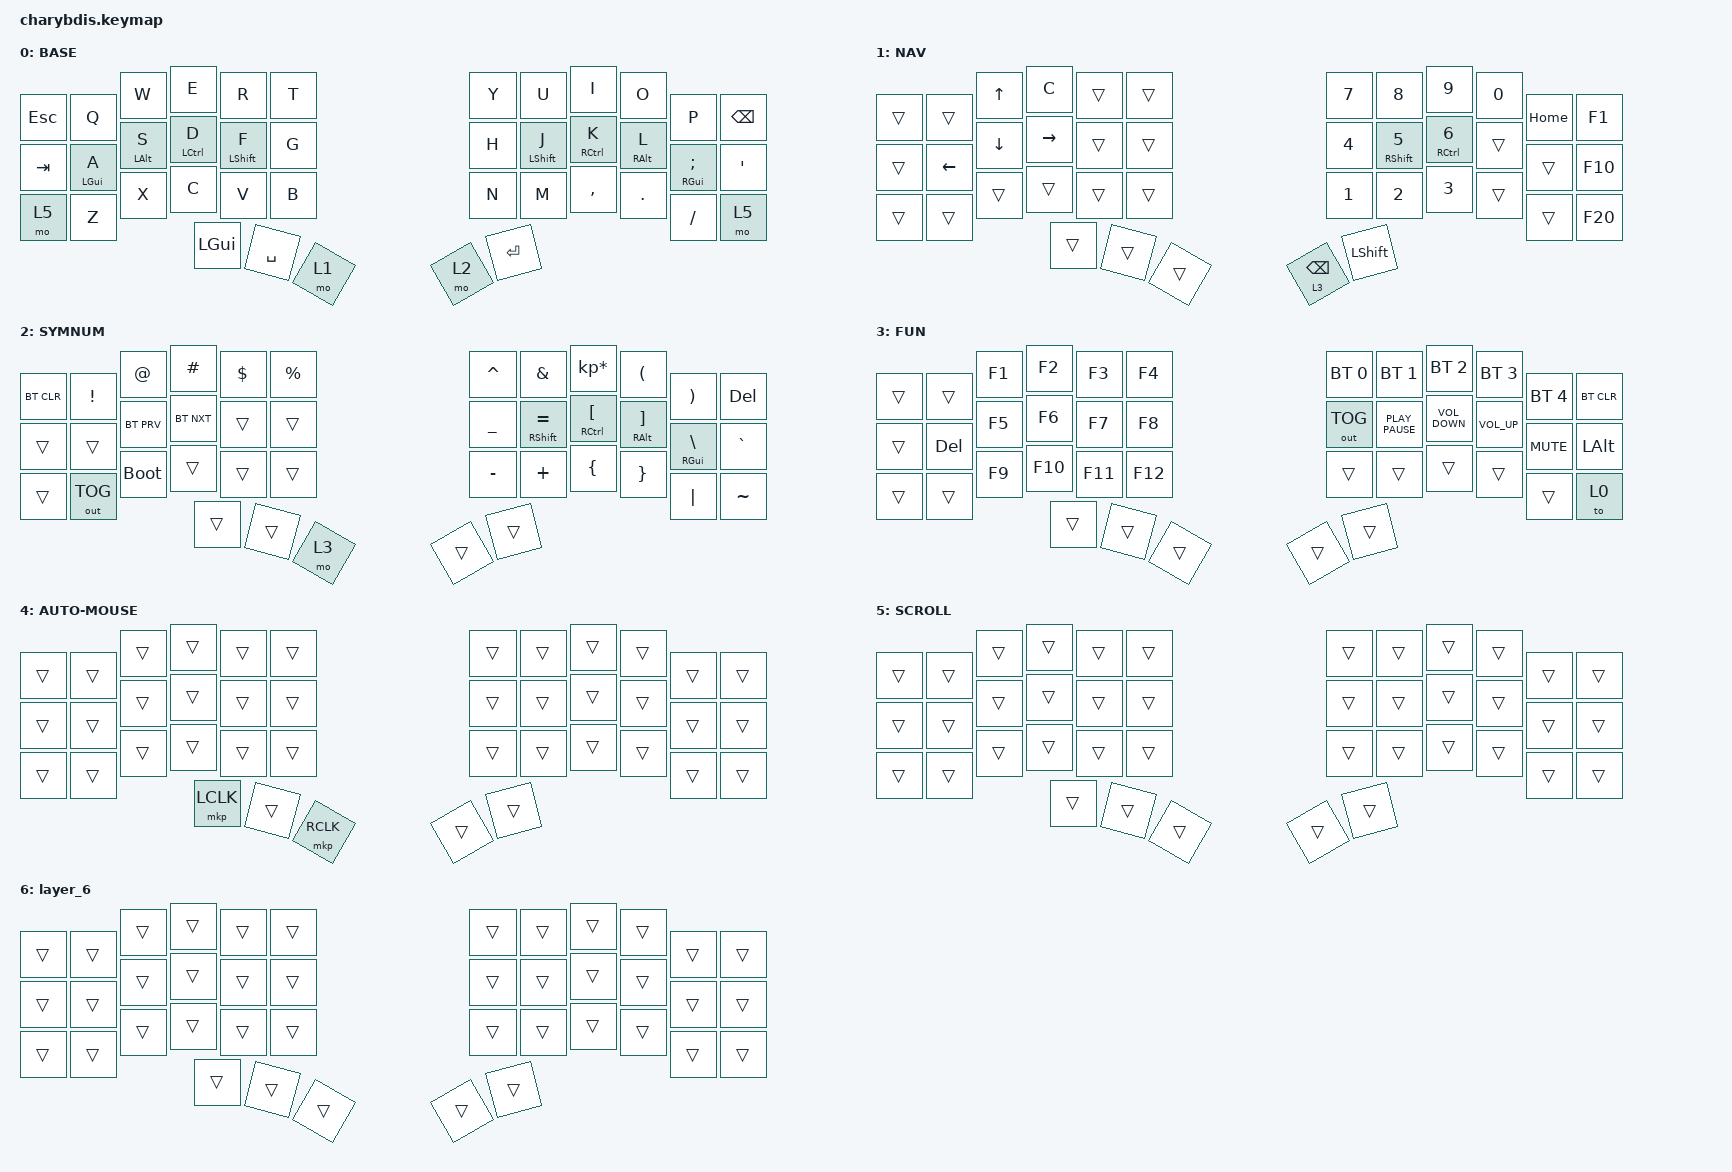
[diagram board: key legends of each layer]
#include <behaviors/mouse_keys.dtsi>
#include <behaviors.dtsi>
#include <dt-bindings/zmk/bt.h>
#include <dt-bindings/zmk/keys.h>
#include <dt-bindings/zmk/mouse.h>
#include <dt-bindings/zmk/outputs.h>

#define U_TAPPING_TERM 200

/ {
    chosen { zmk,matrix_transform = &default_transform; };
};

/ {
    combos {
        compatible = "zmk,combos";

        LeftClickRight {
            bindings = <&mkp LCLK>;
            key-positions = <19 20>;
        };

        RightClickRight {
            bindings = <&mkp RCLK>;
            key-positions = <20 21>;
        };

        MiddleClickRight {
            bindings = <&mkp MCLK>;
            key-positions = <21 22>;
        };

        ParaLeft {
            bindings = <&kp LEFT_PARENTHESIS>;
            key-positions = <4 16>;
        };

        ParaRight {
            bindings = <&kp RIGHT_PARENTHESIS>;
            key-positions = <7 19>;
        };

        BrakLeft {
            bindings = <&kp LEFT_BRACKET>;
            key-positions = <3 15>;
        };

        BrakRight {
            bindings = <&kp RIGHT_BRACKET>;
            key-positions = <8 20>;
        };

        BraceLeft {
            bindings = <&kp LEFT_BRACE>;
            key-positions = <2 14>;
        };

        BraceRight {
            bindings = <&kp RIGHT_BRACE>;
            key-positions = <9 21>;
        };

        Delete {
            bindings = <&kp DELETE>;
            key-positions = <8 9>;
        };

        CapsWord {
            bindings = <&caps_word>;
            key-positions = <17 18>;
        };
    };

    behaviors {
        u_mt: u_mt {
            compatible = "zmk,behavior-hold-tap";
            label = "u_mt";
            #binding-cells = <2>;
            tapping_term_ms = <U_TAPPING_TERM>;
            flavor = "tap-preferred";
            bindings = <&kp>, <&kp>;
        };

        u_lt: u_lt {
            compatible = "zmk,behavior-hold-tap";
            label = "u_lt";
            #binding-cells = <2>;
            tapping_term_ms = <U_TAPPING_TERM>;
            flavor = "tap-preferred";
            bindings = <&mo>, <&kp>;
        };

        Shift_Enter: Shift_Enter {
            compatible = "zmk,behavior-hold-tap";
            label = "SHIFT_ENTER";
            bindings = <&kp>, <&kp>;

            #binding-cells = <2>;
            hold-trigger-key-positions = <40>;
            tapping-term-ms = <100>;
        };
    };

    keymap {
        compatible = "zmk,keymap";

        BASE {
            bindings = <
            &kp ESC  &kp Q             &kp W             &kp E          &kp R               &kp T    &kp Y  &kp U               &kp I          &kp O              &kp P                 &kp BSPC
            &kp TAB  &u_mt LEFT_GUI A  &u_mt LEFT_ALT S  &u_mt LCTRL D  &u_mt LEFT_SHIFT F  &kp G    &kp H  &u_mt LEFT_SHIFT J  &u_mt RCTRL K  &u_mt RIGHT_ALT L  &u_mt RIGHT_GUI SEMI  &kp APOS
            &mo 5    &kp Z             &kp X             &kp C          &kp V               &kp B    &kp N  &kp M               &kp COMMA      &kp DOT            &kp FSLH              &mo 5
                                                        &kp LGUI       &kp SPACE           &mo 1    &mo 2  &kp RET
            >;
        };

        NAV {
            bindings = <
            &trans  &trans    &kp UP    &kp C      &trans  &trans    &kp N7           &kp N8                &kp N9          &kp N0  &kp HOME  &kp F1
            &trans  &kp LEFT  &kp DOWN  &kp RIGHT  &trans  &trans    &kp N4           &u_mt RIGHT_SHIFT N5  &u_mt RCTRL N6  &trans  &trans    &kp F10
            &trans  &trans    &trans    &trans     &trans  &trans    &kp N1           &kp N2                &kp N3          &trans  &trans    &kp F20
                                        &trans     &trans  &trans    &lt 3 BACKSPACE  &kp LSHFT
            >;
        };

        SYMNUM {
            bindings = <
            &bt BT_CLR  &kp EXCL      &kp AT       &kp HASH    &kp DLLR  &kp PRCNT    &kp CARET  &kp AMPS                 &kp KP_MULTIPLY   &kp LPAR              &kp RPAR              &kp DEL
            &trans      &trans        &bt BT_PRV   &bt BT_NXT  &trans    &trans       &kp UNDER  &u_mt RIGHT_SHIFT EQUAL  &u_mt RCTRL LBKT  &u_mt RIGHT_ALT RBKT  &u_mt RIGHT_GUI BSLH  &kp GRAVE
            &trans      &out OUT_TOG  &bootloader  &trans      &trans    &trans       &kp MINUS  &kp PLUS                 &kp LBRC          &kp RBRC              &kp PIPE              &kp TILDE
                                                &trans      &trans    &mo 3        &trans     &trans
            >;
        };

        FUN {
            bindings = <
            &trans  &trans   &kp F1  &kp F2   &kp F3   &kp F4     &bt BT_SEL 0  &bt BT_SEL 1      &bt BT_SEL 2       &bt BT_SEL 3     &bt BT_SEL 4  &bt BT_CLR
            &trans  &kp DEL  &kp F5  &kp F6   &kp F7   &kp F8     &out OUT_TOG  &kp K_PLAY_PAUSE  &kp C_VOLUME_DOWN  &kp C_VOLUME_UP  &kp C_MUTE    &kp LALT
            &trans  &trans   &kp F9  &kp F10  &kp F11  &kp F12    &trans        &trans            &trans             &trans           &trans        &to 0
                                    &trans   &trans   &trans     &trans        &trans
            >;
        };

        AUTO-MOUSE {
            bindings = <
            &trans  &trans  &trans  &trans     &trans  &trans       &trans  &trans  &trans  &trans  &trans  &trans
            &trans  &trans  &trans  &trans     &trans  &trans       &trans  &trans  &trans  &trans  &trans  &trans
            &trans  &trans  &trans  &trans     &trans  &trans       &trans  &trans  &trans  &trans  &trans  &trans
                                    &mkp LCLK  &trans  &mkp RCLK    &trans  &trans
            >;
        };

        SCROLL {
            bindings = <
            &trans  &trans  &trans  &trans  &trans  &trans    &trans  &trans  &trans  &trans  &trans  &trans
            &trans  &trans  &trans  &trans  &trans  &trans    &trans  &trans  &trans  &trans  &trans  &trans
            &trans  &trans  &trans  &trans  &trans  &trans    &trans  &trans  &trans  &trans  &trans  &trans
                                    &trans  &trans  &trans    &trans  &trans
            >;
        };

        layer_6 {
            bindings = <
            &trans  &trans  &trans  &trans  &trans  &trans    &trans  &trans  &trans  &trans  &trans  &trans
            &trans  &trans  &trans  &trans  &trans  &trans    &trans  &trans  &trans  &trans  &trans  &trans
            &trans  &trans  &trans  &trans  &trans  &trans    &trans  &trans  &trans  &trans  &trans  &trans
                                    &trans  &trans  &trans    &trans  &trans
            >;
        };
    };
};
